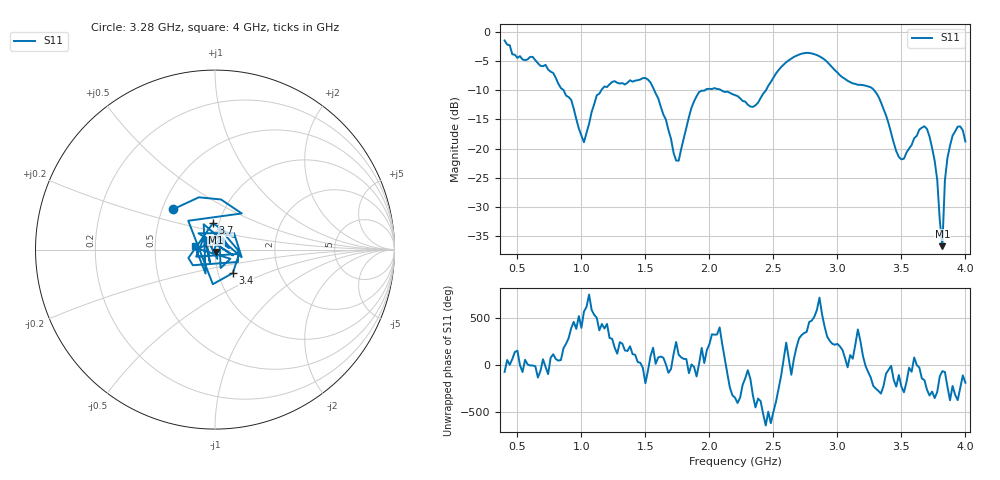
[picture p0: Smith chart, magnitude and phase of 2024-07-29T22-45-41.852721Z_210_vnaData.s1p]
!Created with skrf (http://scikit-rf.org).
# Hz S RI R 50.0
!freq ReS11 ImS11
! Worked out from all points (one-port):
!   181 points, 400 MHz to 4 GHz, reference 50 ohm
!   lowest |S11| = -36.8 dB at 3.82 GHz (marker M1), VSWR 1.03, Z = 50.6 - j1.34 ohm
!   |S11| at or under -10 dB: 1.57 GHz to 1.962 GHz (392.3 MHz wide, 22.2 % of centre); 2.095 GHz to 2.441 GHz (345.8 MHz wide, 15.2 % of centre); 3.288 GHz to end of sweep (the widest 3 of 4)
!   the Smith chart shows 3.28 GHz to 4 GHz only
!   S11 on the Smith chart (normalised r, x): 3.28 GHz: 0.57, +0.28; 3.4 GHz: 1.17, -0.32; 3.7 GHz: 0.94, +0.28; 4 GHz: 0.80, +0.03
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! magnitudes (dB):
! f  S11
! 400 MHz  -1.4
! 500 MHz  -4.4
! 720 MHz  -5.6
! 860 MHz  -9.9
! 920 MHz  -11.6
! 1.02 GHz  -18.9
! 1.12 GHz  -10.8
! 1.3 GHz  -8.8
! 1.54 GHz  -8.6
! 1.76 GHz  -22.1
! 1.86 GHz  -13.0
! 1.92 GHz  -10.3
! 2.2 GHz  -10.8
! 2.36 GHz  -12.6
! 2.66 GHz  -4.2
! 2.84 GHz  -3.9
! 3.1 GHz  -8.6
! 3.28 GHz  -9.8
! 3.4 GHz  -15.7
! 3.48 GHz  -21.5
! 3.56 GHz  -20.0
! 3.7 GHz  -16.6
! 3.78 GHz  -25.4
! 3.82 GHz  -36.8
! 3.84 GHz  -25.5
! 3.88 GHz  -19.5
! 3.94 GHz  -16.2
! 4 GHz  -18.8
